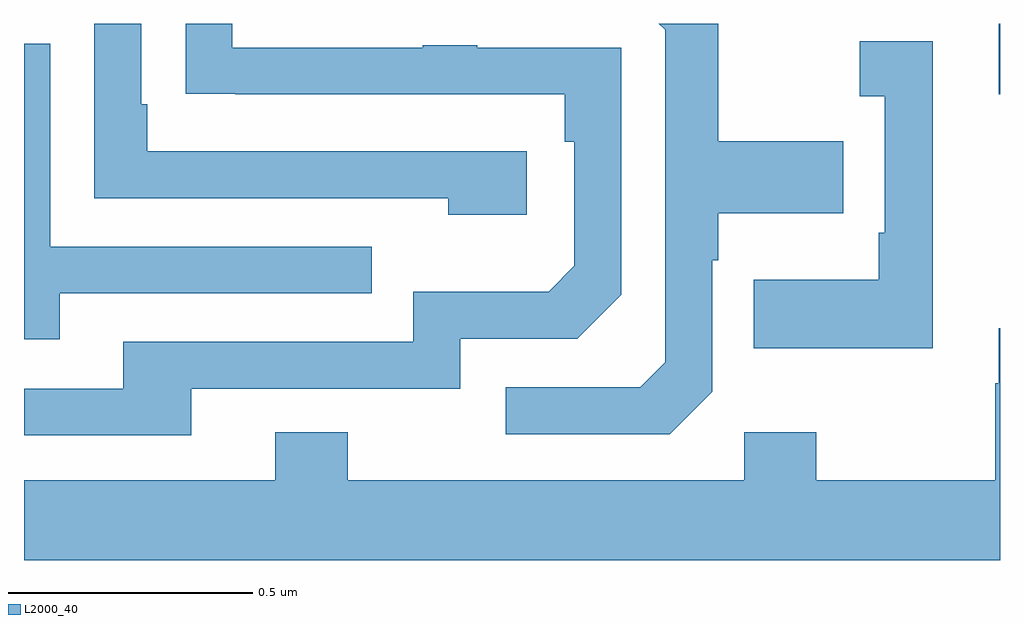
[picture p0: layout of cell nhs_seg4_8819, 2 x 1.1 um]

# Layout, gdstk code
import gdstk
lib = gdstk.Library(unit=1e-6, precision=1e-09)
def R(c, l, rs):  # rectangles x0, y0, x1, y1
    for r in rs: c.add(gdstk.rectangle(r[:2], r[2:], *l))
def P(c, l, *ps):  # polygons
    for p in ps: c.add(gdstk.Polygon(p, *l))
L2000_40 = (2000, 40)

nhs_seg4_8819 = lib.new_cell('nhs_seg4_8819')
R(nhs_seg4_8819, L2000_40, [(220.997,817.755,221,817.9)])
P(nhs_seg4_8819, L2000_40, [(219.343,817.152),(219.894,817.152),(219.894,817.254),(220.134,817.254),(220.224,817.344),(220.224,817.851),(219.929,817.851),(219.929,817.856),(219.817,817.856),(219.817,817.851),(219.427,817.851),(219.427,817.9),(219.331,817.9),(219.331,817.756),(219.433,817.756),(219.433,817.755),(220.108,817.755),(220.108,817.658),(220.128,817.658),(220.128,817.404),(220.075,817.351),(219.798,817.351),(219.798,817.248),(219.203,817.248),(219.203,817.152),(219,817.152),(219,817.056),(219.343,817.056)],
  [(220.41,817.146),(220.41,817.415),(220.423,817.415),(220.423,817.511),(220.679,817.511),(220.679,817.659),(220.423,817.659),(220.423,817.9),(220.301,817.9),(220.314,817.887),(220.314,817.206),(220.263,817.155),(219.987,817.155),(219.987,817.059),(220.323,817.059)],
  [(220.03,817.638),(219.253,817.638),(219.253,817.735),(219.24,817.735),(219.24,817.9),(219.144,817.9),(219.144,817.542),(219.869,817.542),(219.869,817.508),(220.03,817.508)],
  [(220.862,817.864),(220.713,817.864),(220.713,817.751),(220.764,817.751),(220.764,817.471),(220.752,817.471),(220.752,817.375),(220.495,817.375),(220.495,817.235),(220.862,817.235)],
  [(219.073,817.347),(219.713,817.347),(219.713,817.443),(219.054,817.443),(219.054,817.859),(219,817.859),(219,817.253),(219.073,817.253)],
  [(221,817.276),(220.997,817.276),(220.997,817.163),(220.99,817.163),(220.99,816.964),(220.623,816.964),(220.623,817.063),(220.476,817.063),(220.476,816.964),(219.663,816.964),(219.663,817.063),(219.515,817.063),(219.515,816.964),(219,816.964),(219,816.8),(221,816.8)])

lib.write_gds('nhs_seg4_8819.gds')
